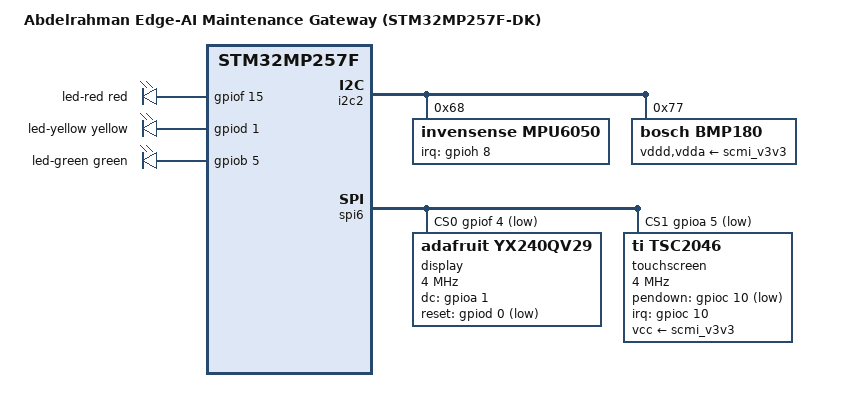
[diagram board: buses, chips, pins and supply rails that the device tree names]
// SPDX-License-Identifier: GPL-2.0-or-later OR BSD-3-Clause
/*
 * Edge-AI Maintenance Gateway - board variant of the STM32MP257F-DK
 *
 * Written against ST's kernel branch v6.6-stm32mp (OpenSTLinux Scarthgap).
 * Pin numbers below are pins of the 40-pin GPIO connector
 * (user manual, "GPIO connector pinout" table).
 *
 *   I2C2   SDA pin 27 (PF0)   SCL pin 28 (PF2)
 *   SPI6   SCK  pin 23 (PF7)  MOSI pin 19 (PC7)  MISO pin 21 (PC4)
 *   Display CS pin 24 (PF4)   Touch CS pin 32 (PA5)
 *   Display DC pin 33 (PA1)   Display RESET pin 35 (PD0)
 *   Touch IRQ pin 29 (PC10)   MPU-6050 INT pin 31 (PH8)
 *   LED red pin 36 (PF15)     yellow pin 38 (PD1)   green pin 40 (PB5)
 *
 * Both I2C sensors use drivers that already exist in the kernel:
 *   MPU-6050 -> inv_mpu6050 (IIO)     BMP180 -> bmp280 driver family (IIO)
 */

#include "stm32mp257f-dk.dts"

/ {
	model = "Abdelrahman Edge-AI Maintenance Gateway (STM32MP257F-DK)";

	traffic_lights {
		compatible = "gpio-leds";

		led-red {
			gpios = <&gpiof 15 GPIO_ACTIVE_HIGH>;	/* connector pin 36 */
			color = <LED_COLOR_ID_RED>;
			function = LED_FUNCTION_INDICATOR;
			default-state = "off";
		};

		led-yellow {
			gpios = <&gpiod 1 GPIO_ACTIVE_HIGH>;	/* connector pin 38 */
			color = <LED_COLOR_ID_YELLOW>;
			function = LED_FUNCTION_INDICATOR;
			default-state = "off";
		};

		led-green {
			gpios = <&gpiob 5 GPIO_ACTIVE_HIGH>;	/* connector pin 40 */
			color = <LED_COLOR_ID_GREEN>;
			function = LED_FUNCTION_INDICATOR;
			default-state = "off";
		};
	};
};

/*
 * i2c2 is already enabled by the board file (pins, 400 kHz, pinctrl).
 * Other chips already on this bus: 0x1a camera, 0x38/0x3c/0x3d/0x3f HDMI,
 * 0x41 touch. Our addresses 0x68 and 0x77 do not collide with them.
 */
&i2c2 {
	mpu6050: accelerometer@68 {
		compatible = "invensense,mpu6050";
		reg = <0x68>;
		interrupt-parent = <&gpioh>;
		interrupts = <8 IRQ_TYPE_EDGE_RISING>;	/* connector pin 31 */
	};

	bmp180: pressure-sensor@77 {
		compatible = "bosch,bmp180";
		reg = <0x77>;
		vddd-supply = <&scmi_v3v3>;
		vdda-supply = <&scmi_v3v3>;
	};
};

/*
 * spi6 pin muxing (SCK/MOSI/MISO) is already done by the board file
 * (spi6_pins_a). Both chip-selects are plain GPIOs, so the SPI core
 * toggles them itself.
 */
&spi6 {
	cs-gpios = <&gpiof 4 GPIO_ACTIVE_LOW>,	/* pin 24: display CS */
		   <&gpioa 5 GPIO_ACTIVE_LOW>;	/* pin 32: touch CS   */
	#address-cells = <1>;
	#size-cells = <0>;
	status = "okay";

	display@0 {
		compatible = "adafruit,yx240qv29", "ilitek,ili9341";
		reg = <0>;
		spi-max-frequency = <4000000>;
		dc-gpios = <&gpioa 1 GPIO_ACTIVE_HIGH>;		/* pin 33 */
		reset-gpios = <&gpiod 0 GPIO_ACTIVE_LOW>;	/* pin 35 */
	};

	touchscreen@1 {
		compatible = "ti,tsc2046";
		reg = <1>;
		spi-max-frequency = <4000000>;
		interrupt-parent = <&gpioc>;
		interrupts = <10 IRQ_TYPE_EDGE_FALLING>;	/* pin 29 */
		pendown-gpio = <&gpioc 10 GPIO_ACTIVE_LOW>;
		vcc-supply = <&scmi_v3v3>;
		ti,x-plate-ohms = /bits/ 16 <400>;
		ti,pressure-max = /bits/ 16 <255>;
	};
};
